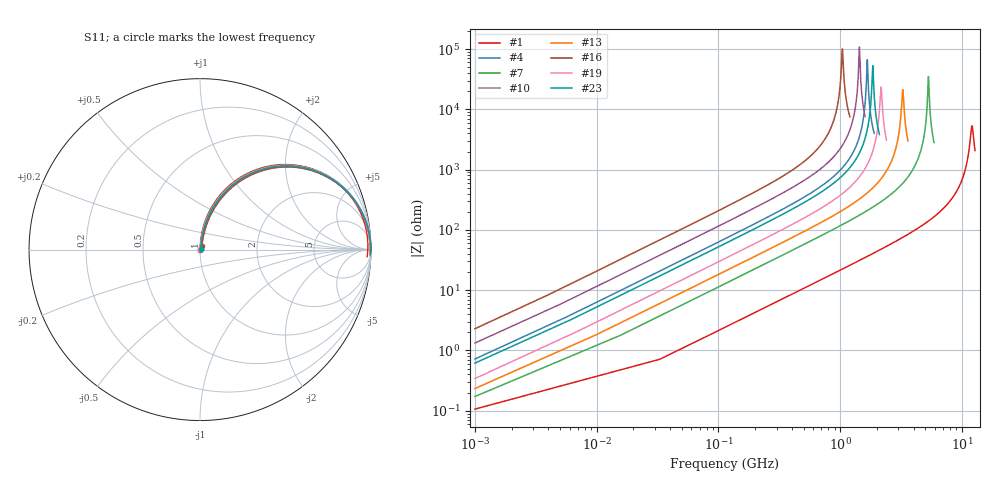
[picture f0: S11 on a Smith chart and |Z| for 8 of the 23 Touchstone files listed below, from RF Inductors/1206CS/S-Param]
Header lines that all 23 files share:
! 29 July 2002
# MHZ S MA R 50
!Freq  MagS11  AngS11  MagS21  AngS21  MagS12  AngS12  MagS22  AngS22
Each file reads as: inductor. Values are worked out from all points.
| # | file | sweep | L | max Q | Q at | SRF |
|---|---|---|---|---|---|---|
| 1 | 12CS030.S2P | 1 MHz to 12.8 GHz | 3.4 nH | 162 | 3.129 GHz | 12.1 GHz |
| 2 | 12CS060.S2P | 1 MHz to 10.9 GHz | 6.8 nH | 129 | 3.127 GHz | 10.3 GHz |
| 3 | 12CS100.S2P | 1 MHz to 7.9 GHz | 11.5 nH | 132 | 2.227 GHz | 7.152 GHz |
| 4 | 12CS101.S2P | 1 MHz to 1.9 GHz | 100 nH | 79.1 | 640.9 MHz | 1.665 GHz |
| 5 | 12CS120.S2P | 1 MHz to 4.9 GHz | 15 nH | 103 | 1.382 GHz | 4.425 GHz |
| 6 | 12CS121.S2P | 1 MHz to 2.15 GHz | 118 nH | 92 | 735.3 MHz | 2.027 GHz |
| 7 | 12CS150.S2P | 1 MHz to 5.9 GHz | 18 nH | 123 | 1.825 GHz | 5.297 GHz |
| 8 | 12CS151.S2P | 1 MHz to 1.6 GHz | 140 nH | 80.3 | 507.7 MHz | 1.425 GHz |
| 9 | 12CS180.S2P | 1 MHz to 4.4 GHz | 21 nH | 110 | 1.241 GHz | 3.928 GHz |
| 10 | 12CS181.S2P | 1 MHz to 1.6 GHz | 183 nH | 78.6 | 559.6 MHz | 1.433 GHz |
| 11 | 12CS220.S2P | 1 MHz to 3.6 GHz | 24 nH | 93.1 | 1.007 GHz | 3.234 GHz |
| 12 | 12CS221.S2P | 1 MHz to 1.3 GHz | 223 nH | 71 | 435.2 MHz | 1.174 GHz |
| 13 | 12CS270.S2P | 1 MHz to 3.6 GHz | 29 nH | 98.3 | 1.043 GHz | 3.261 GHz |
| 14 | 12CS271.S2P | 1 MHz to 1.3 GHz | 280 nH | 70.4 | 415.7 MHz | 1.103 GHz |
| 15 | 12CS330.S2P | 1 MHz to 2.6 GHz | 35 nH | 96.4 | 785.1 MHz | 2.347 GHz |
| 16 | 12CS331.S2P | 1 MHz to 1.2 GHz | 329 nH | 76.9 | 377.7 MHz | 1.039 GHz |
| 17 | 12CS390.S2P | 1 MHz to 3.1 GHz | 39 nH | 94.7 | 928.6 MHz | 2.745 GHz |
| 18 | 12CS391.S2P | 1 MHz to 1.1 GHz | 390 nH | 76.9 | 392.8 MHz | 1.056 GHz |
| 19 | 12CS470.S2P | 1 MHz to 2.4 GHz | 47 nH | 85.5 | 718.6 MHz | 2.16 GHz |
| 20 | 12CS471.S2P | 1 MHz to 1 GHz | 470 nH | 65.2 | 327.2 MHz | 847.6 MHz |
| 21 | 12CS560.S2P | 1 MHz to 2.3 GHz | 56 nH | 82.7 | 705.8 MHz | 2.052 GHz |
| 22 | 12CS680.S2P | 1 MHz to 1.9 GHz | 68 nH | 79.8 | 631.4 MHz | 1.712 GHz |
| 23 | 12CS820.S2P | 1 MHz to 2.1 GHz | 83 nH | 81.6 | 686.1 MHz | 1.847 GHz |
